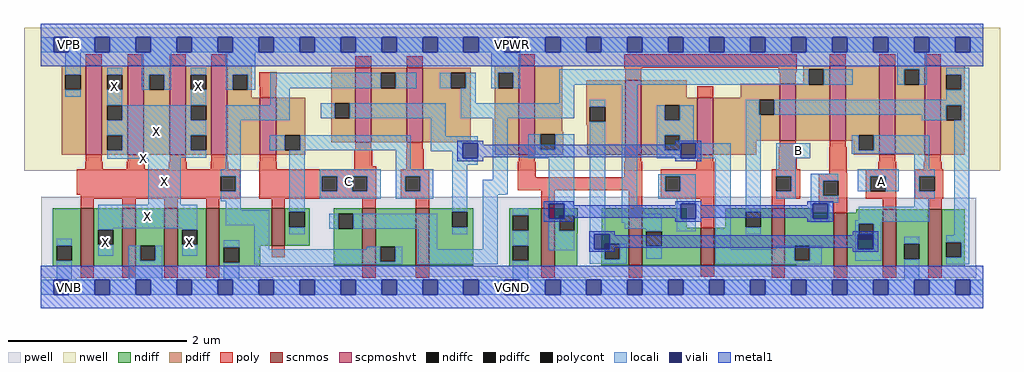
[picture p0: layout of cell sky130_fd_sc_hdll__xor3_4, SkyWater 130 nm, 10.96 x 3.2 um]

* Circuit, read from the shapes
.subckt sky130_fd_sc_hdll__xor3_4 A B C VGND VNB VPB VPWR X
XM1 X n1 VGND VNB sky130_fd_pr__nfet_01v8 w=0.65 l=0.15 m=4
XM2 n2 C VGND VNB sky130_fd_pr__nfet_01v8 w=0.42 l=0.15
XM3 n1 C n3 VNB sky130_fd_pr__nfet_01v8 w=0.64 l=0.15
XM4 n4 n2 n1 VNB sky130_fd_pr__nfet_01v8 w=0.64 l=0.15
XM5 n5 B VGND VNB sky130_fd_pr__nfet_01v8 w=0.65 l=0.15
XM6 n3 B n6 VNB sky130_fd_pr__nfet_01v8 w=0.64 l=0.15
XM7 n7 n5 n3 VNB sky130_fd_pr__nfet_01v8 w=0.42 l=0.15
XM8 n4 B n7 VNB sky130_fd_pr__nfet_01v8 w=0.64 l=0.15
XM9 n6 n5 n4 VNB sky130_fd_pr__nfet_01v8 w=0.6 l=0.15
XM10 VGND A n6 VNB sky130_fd_pr__nfet_01v8 w=0.64 l=0.15
XM11 n7 n6 VGND VNB sky130_fd_pr__nfet_01v8 w=0.64 l=0.15
XM12 X n1 VPWR VPB sky130_fd_pr__pfet_01v8_hvt w=1 l=0.18 m=4
XM13 n2 C VPWR VPB sky130_fd_pr__pfet_01v8_hvt w=0.64 l=0.18
XM14 n1 C n4 VPB sky130_fd_pr__pfet_01v8_hvt w=0.84 l=0.18
XM15 n3 n2 n1 VPB sky130_fd_pr__pfet_01v8_hvt w=0.84 l=0.18
XM16 n5 B VPWR VPB sky130_fd_pr__pfet_01v8_hvt w=1 l=0.18
XM17 n4 B n6 VPB sky130_fd_pr__pfet_01v8_hvt w=0.84 l=0.18
XM18 n7 n5 n4 VPB sky130_fd_pr__pfet_01v8_hvt w=0.64 l=0.18
XM19 n3 B n7 VPB sky130_fd_pr__pfet_01v8_hvt w=0.64 l=0.18
XM20 n6 n5 n3 VPB sky130_fd_pr__pfet_01v8_hvt w=0.84 l=0.18
XM21 VPWR A n6 VPB sky130_fd_pr__pfet_01v8_hvt w=1 l=0.18
XM22 n7 n6 VPWR VPB sky130_fd_pr__pfet_01v8_hvt w=1 l=0.18
.ends

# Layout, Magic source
magic
tech sky130A
magscale 1 2
<< nwell >>
rect -38 261 2154 582
<< pwell >>
rect 1 201 1757 203
rect 1 23 2101 201
rect 1 21 519 23
rect 1026 21 1230 23
rect 1672 21 2101 23
rect 47 -17 81 21
<< scnmos >>
rect 89 47 119 177
rect 183 47 213 177
rect 277 47 307 177
rect 371 47 401 177
rect 518 93 548 177
rect 722 49 752 177
rect 842 49 872 177
rect 1124 47 1154 177
rect 1320 49 1350 177
rect 1482 49 1512 133
rect 1641 49 1671 177
rect 1781 47 1811 167
rect 1891 47 1921 175
rect 1993 47 2023 175
<< scpmoshvt >>
rect 101 297 137 497
rect 195 297 231 497
rect 289 297 325 497
rect 383 297 419 497
rect 492 297 528 425
rect 706 325 742 493
rect 822 325 858 493
rect 1073 297 1109 497
rect 1312 297 1348 465
rect 1474 297 1510 425
rect 1659 329 1695 457
rect 1772 329 1808 497
rect 1883 297 1919 497
rect 1985 297 2021 497
<< ndiff >>
rect 27 93 89 177
rect 27 59 35 93
rect 69 59 89 93
rect 27 47 89 59
rect 119 129 183 177
rect 119 95 129 129
rect 163 95 183 129
rect 119 47 183 95
rect 213 93 277 177
rect 213 59 223 93
rect 257 59 277 93
rect 213 47 277 59
rect 307 129 371 177
rect 307 95 317 129
rect 351 95 371 129
rect 307 47 371 95
rect 401 93 518 177
rect 548 169 604 177
rect 548 135 558 169
rect 592 135 604 169
rect 548 93 604 135
rect 658 165 722 177
rect 658 131 668 165
rect 702 131 722 165
rect 401 89 493 93
rect 401 55 411 89
rect 445 55 493 89
rect 401 47 493 55
rect 658 49 722 131
rect 752 91 842 177
rect 752 57 762 91
rect 796 57 842 91
rect 752 49 842 57
rect 872 169 971 177
rect 872 135 924 169
rect 958 135 971 169
rect 872 49 971 135
rect 1052 161 1124 177
rect 1052 127 1060 161
rect 1094 127 1124 161
rect 1052 93 1124 127
rect 1052 59 1060 93
rect 1094 59 1124 93
rect 1052 47 1124 59
rect 1154 161 1206 177
rect 1154 127 1164 161
rect 1198 127 1206 161
rect 1154 121 1206 127
rect 1154 47 1204 121
rect 1260 105 1320 177
rect 1258 97 1320 105
rect 1258 63 1266 97
rect 1300 63 1320 97
rect 1258 49 1320 63
rect 1350 133 1451 177
rect 1537 169 1641 177
rect 1537 135 1583 169
rect 1617 135 1641 169
rect 1537 133 1641 135
rect 1350 126 1482 133
rect 1350 92 1360 126
rect 1394 92 1482 126
rect 1350 49 1482 92
rect 1512 49 1641 133
rect 1671 167 1731 177
rect 1831 167 1891 175
rect 1671 93 1781 167
rect 1671 59 1693 93
rect 1727 59 1781 93
rect 1671 49 1781 59
rect 1698 47 1781 49
rect 1811 142 1891 167
rect 1811 108 1837 142
rect 1871 108 1891 142
rect 1811 47 1891 108
rect 1921 97 1993 175
rect 1921 63 1939 97
rect 1973 63 1993 97
rect 1921 47 1993 63
rect 2023 101 2075 175
rect 2023 67 2033 101
rect 2067 67 2075 101
rect 2023 47 2075 67
<< pdiff >>
rect 47 477 101 497
rect 47 443 55 477
rect 89 443 101 477
rect 47 297 101 443
rect 137 477 195 497
rect 137 443 149 477
rect 183 443 195 477
rect 137 409 195 443
rect 137 375 149 409
rect 183 375 195 409
rect 137 341 195 375
rect 137 307 149 341
rect 183 307 195 341
rect 137 297 195 307
rect 231 477 289 497
rect 231 443 243 477
rect 277 443 289 477
rect 231 297 289 443
rect 325 477 383 497
rect 325 443 337 477
rect 371 443 383 477
rect 325 409 383 443
rect 325 375 337 409
rect 371 375 383 409
rect 325 341 383 375
rect 325 307 337 341
rect 371 307 383 341
rect 325 297 383 307
rect 419 477 473 497
rect 419 443 431 477
rect 465 443 473 477
rect 419 425 473 443
rect 419 297 492 425
rect 528 341 594 425
rect 528 307 548 341
rect 582 307 594 341
rect 652 413 706 493
rect 652 379 660 413
rect 694 379 706 413
rect 652 325 706 379
rect 742 481 822 493
rect 742 447 763 481
rect 797 447 822 481
rect 742 325 822 447
rect 858 481 965 493
rect 858 447 920 481
rect 954 447 965 481
rect 858 325 965 447
rect 1019 481 1073 497
rect 1019 447 1027 481
rect 1061 447 1073 481
rect 528 297 594 307
rect 1019 297 1073 447
rect 1109 349 1171 497
rect 1712 489 1772 497
rect 1225 405 1312 465
rect 1225 371 1233 405
rect 1267 371 1312 405
rect 1225 365 1312 371
rect 1109 343 1173 349
rect 1109 309 1121 343
rect 1155 309 1173 343
rect 1109 297 1173 309
rect 1227 297 1312 365
rect 1348 425 1450 465
rect 1712 457 1724 489
rect 1572 425 1659 457
rect 1348 409 1474 425
rect 1348 375 1401 409
rect 1435 375 1474 409
rect 1348 341 1474 375
rect 1348 307 1401 341
rect 1435 307 1474 341
rect 1348 297 1474 307
rect 1510 421 1659 425
rect 1510 387 1613 421
rect 1647 387 1659 421
rect 1510 329 1659 387
rect 1695 455 1724 457
rect 1758 455 1772 489
rect 1695 329 1772 455
rect 1808 341 1883 497
rect 1808 329 1837 341
rect 1510 297 1607 329
rect 1825 307 1837 329
rect 1871 307 1883 341
rect 1825 297 1883 307
rect 1919 489 1985 497
rect 1919 455 1939 489
rect 1973 455 1985 489
rect 1919 297 1985 455
rect 2021 477 2075 497
rect 2021 443 2033 477
rect 2067 443 2075 477
rect 2021 409 2075 443
rect 2021 375 2033 409
rect 2067 375 2075 409
rect 2021 297 2075 375
<< ndiffc >>
rect 35 59 69 93
rect 129 95 163 129
rect 223 59 257 93
rect 317 95 351 129
rect 558 135 592 169
rect 668 131 702 165
rect 411 55 445 89
rect 762 57 796 91
rect 924 135 958 169
rect 1060 127 1094 161
rect 1060 59 1094 93
rect 1164 127 1198 161
rect 1266 63 1300 97
rect 1583 135 1617 169
rect 1360 92 1394 126
rect 1693 59 1727 93
rect 1837 108 1871 142
rect 1939 63 1973 97
rect 2033 67 2067 101
<< pdiffc >>
rect 55 443 89 477
rect 149 443 183 477
rect 149 375 183 409
rect 149 307 183 341
rect 243 443 277 477
rect 337 443 371 477
rect 337 375 371 409
rect 337 307 371 341
rect 431 443 465 477
rect 548 307 582 341
rect 660 379 694 413
rect 763 447 797 481
rect 920 447 954 481
rect 1027 447 1061 481
rect 1233 371 1267 405
rect 1121 309 1155 343
rect 1401 375 1435 409
rect 1401 307 1435 341
rect 1613 387 1647 421
rect 1724 455 1758 489
rect 1837 307 1871 341
rect 1939 455 1973 489
rect 2033 443 2067 477
rect 2033 375 2067 409
<< poly >>
rect 101 497 137 523
rect 195 497 231 523
rect 289 497 325 523
rect 383 497 419 523
rect 706 493 742 519
rect 822 493 858 519
rect 1073 497 1109 523
rect 490 451 530 483
rect 492 425 528 451
rect 706 310 742 325
rect 822 310 858 325
rect 101 282 137 297
rect 195 282 231 297
rect 289 282 325 297
rect 383 282 419 297
rect 492 282 528 297
rect 99 265 139 282
rect 193 265 233 282
rect 287 265 327 282
rect 381 265 421 282
rect 490 265 530 282
rect 704 271 744 310
rect 704 265 753 271
rect 820 265 860 310
rect 1310 493 1697 523
rect 1772 497 1808 523
rect 1883 497 1919 523
rect 1985 497 2021 523
rect 1310 491 1350 493
rect 1312 465 1348 491
rect 1657 483 1697 493
rect 1659 457 1695 483
rect 1474 425 1510 451
rect 1659 314 1695 329
rect 1772 314 1808 329
rect 1073 282 1109 297
rect 1312 282 1348 297
rect 1474 282 1510 297
rect 80 249 448 265
rect 80 215 404 249
rect 438 215 448 249
rect 80 207 448 215
rect 89 199 448 207
rect 490 249 753 265
rect 490 215 631 249
rect 665 215 699 249
rect 733 215 753 249
rect 490 199 753 215
rect 808 249 872 265
rect 808 215 818 249
rect 852 215 872 249
rect 1071 247 1111 282
rect 1310 247 1350 282
rect 1472 265 1512 282
rect 1657 265 1697 314
rect 1071 217 1350 247
rect 808 199 872 215
rect 89 177 119 199
rect 183 177 213 199
rect 277 177 307 199
rect 371 177 401 199
rect 518 177 548 199
rect 722 197 753 199
rect 722 177 752 197
rect 842 177 872 199
rect 1124 177 1154 217
rect 1320 177 1350 217
rect 1392 249 1512 265
rect 1392 215 1402 249
rect 1436 215 1512 249
rect 1392 199 1512 215
rect 518 67 548 93
rect 89 21 119 47
rect 183 21 213 47
rect 277 21 307 47
rect 371 21 401 47
rect 722 21 752 49
rect 842 21 872 49
rect 1482 133 1512 199
rect 1641 249 1705 265
rect 1770 256 1810 314
rect 1883 282 1919 297
rect 1985 282 2021 297
rect 1881 265 1921 282
rect 1983 265 2023 282
rect 1770 255 1811 256
rect 1641 215 1651 249
rect 1685 215 1705 249
rect 1641 199 1705 215
rect 1747 239 1811 255
rect 1747 205 1757 239
rect 1791 205 1811 239
rect 1641 177 1671 199
rect 1747 189 1811 205
rect 1853 249 1921 265
rect 1853 215 1863 249
rect 1897 215 1921 249
rect 1853 199 1921 215
rect 1963 249 2027 265
rect 1963 215 1973 249
rect 2007 215 2027 249
rect 1963 199 2027 215
rect 1781 167 1811 189
rect 1891 175 1921 199
rect 1993 175 2023 199
rect 1124 21 1154 47
rect 1320 21 1350 49
rect 1482 23 1512 49
rect 1641 21 1671 49
rect 1781 21 1811 47
rect 1891 21 1921 47
rect 1993 21 2023 47
<< polycont >>
rect 404 215 438 249
rect 631 215 665 249
rect 699 215 733 249
rect 818 215 852 249
rect 1402 215 1436 249
rect 1651 215 1685 249
rect 1757 205 1791 239
rect 1863 215 1897 249
rect 1973 215 2007 249
<< locali >>
rect 0 527 29 561
rect 63 527 121 561
rect 155 527 213 561
rect 247 527 305 561
rect 339 527 397 561
rect 431 527 489 561
rect 523 527 581 561
rect 615 527 673 561
rect 707 527 765 561
rect 799 527 857 561
rect 891 527 949 561
rect 983 527 1041 561
rect 1075 527 1133 561
rect 1167 527 1225 561
rect 1259 527 1317 561
rect 1351 527 1409 561
rect 1443 527 1501 561
rect 1535 527 1593 561
rect 1627 527 1685 561
rect 1719 527 1777 561
rect 1811 527 1869 561
rect 1903 527 1961 561
rect 1995 527 2053 561
rect 2087 527 2116 561
rect 55 477 89 527
rect 55 427 89 443
rect 149 477 183 493
rect 227 477 293 527
rect 227 443 243 477
rect 277 443 293 477
rect 337 477 371 493
rect 415 477 481 527
rect 1011 481 1077 527
rect 1923 489 1989 527
rect 415 443 431 477
rect 465 443 481 477
rect 515 447 763 481
rect 797 447 843 481
rect 896 447 920 481
rect 954 447 977 481
rect 1011 447 1027 481
rect 1061 447 1077 481
rect 1164 455 1724 489
rect 1758 455 1823 489
rect 1923 455 1939 489
rect 1973 455 1989 489
rect 2033 477 2085 493
rect 149 409 183 443
rect 337 409 371 443
rect 515 409 559 447
rect 943 413 977 447
rect 1164 413 1198 455
rect 183 375 337 409
rect 149 341 371 375
rect 183 307 337 341
rect 149 291 371 307
rect 415 375 559 409
rect 628 379 660 413
rect 694 379 909 413
rect 943 379 1198 413
rect 1233 405 1267 421
rect 149 288 314 291
rect 241 185 314 288
rect 415 265 449 375
rect 514 307 548 341
rect 582 307 831 341
rect 404 249 449 265
rect 438 215 449 249
rect 404 193 449 215
rect 129 132 351 185
rect 415 173 449 193
rect 415 139 513 173
rect 129 129 163 132
rect 35 93 69 109
rect 129 70 163 95
rect 317 129 351 132
rect 35 17 69 59
rect 197 59 223 93
rect 257 59 273 93
rect 317 70 351 95
rect 411 89 445 105
rect 197 17 273 59
rect 411 17 445 55
rect 479 85 513 139
rect 558 169 592 307
rect 797 265 831 307
rect 875 339 909 379
rect 875 323 981 339
rect 875 305 947 323
rect 924 289 947 305
rect 924 275 981 289
rect 626 249 763 265
rect 626 215 631 249
rect 665 215 699 249
rect 733 215 763 249
rect 626 199 763 215
rect 797 249 881 265
rect 797 215 818 249
rect 852 215 881 249
rect 797 199 881 215
rect 924 169 958 275
rect 1015 241 1049 379
rect 1095 309 1121 343
rect 1155 309 1198 343
rect 1095 289 1198 309
rect 558 119 592 135
rect 648 131 668 165
rect 702 131 890 165
rect 732 85 762 91
rect 479 57 762 85
rect 796 57 812 91
rect 479 51 812 57
rect 846 85 890 131
rect 924 119 958 135
rect 992 210 1049 241
rect 992 209 1048 210
rect 992 208 1046 209
rect 992 207 1043 208
rect 992 85 1026 207
rect 1140 187 1198 289
rect 846 51 1026 85
rect 1060 161 1094 177
rect 1060 93 1094 127
rect 1140 153 1141 187
rect 1175 161 1198 187
rect 1140 127 1164 153
rect 1140 83 1198 127
rect 1233 119 1267 371
rect 1305 178 1339 455
rect 2067 443 2085 477
rect 2033 421 2085 443
rect 1383 375 1401 409
rect 1435 375 1466 409
rect 1383 341 1466 375
rect 1383 307 1401 341
rect 1435 323 1466 341
rect 1583 387 1613 421
rect 1647 409 2085 421
rect 1647 387 2033 409
rect 1435 307 1437 323
rect 1383 289 1437 307
rect 1471 289 1549 323
rect 1386 249 1471 254
rect 1386 215 1402 249
rect 1436 215 1471 249
rect 1386 199 1471 215
rect 1428 187 1471 199
rect 1305 165 1355 178
rect 1305 144 1394 165
rect 1311 131 1394 144
rect 1360 126 1394 131
rect 1428 153 1437 187
rect 1428 126 1471 153
rect 1233 85 1243 119
rect 1060 17 1094 59
rect 1233 63 1266 85
rect 1300 63 1316 97
rect 1360 64 1394 92
rect 1515 85 1549 289
rect 1583 169 1617 387
rect 1978 375 2033 387
rect 2067 375 2085 409
rect 1651 289 1728 323
rect 1821 307 1837 341
rect 1871 307 1995 341
rect 1821 299 1995 307
rect 1651 249 1695 289
rect 1961 265 1995 299
rect 1685 215 1695 249
rect 1651 199 1695 215
rect 1729 239 1791 255
rect 1729 205 1757 239
rect 1835 249 1927 265
rect 1835 215 1863 249
rect 1897 215 1927 249
rect 1961 249 2007 265
rect 1961 215 1973 249
rect 1729 189 1791 205
rect 1961 199 2007 215
rect 1729 187 1770 189
rect 1729 153 1733 187
rect 1767 153 1770 187
rect 1961 181 1995 199
rect 1729 146 1770 153
rect 1837 150 1995 181
rect 1829 147 1995 150
rect 1583 119 1617 135
rect 1829 142 1887 147
rect 1829 119 1837 142
rect 1651 85 1693 93
rect 1233 53 1316 63
rect 1515 59 1693 85
rect 1727 59 1754 93
rect 1829 85 1835 119
rect 1871 108 1887 142
rect 2051 117 2085 375
rect 1869 85 1887 108
rect 1829 59 1887 85
rect 1939 97 1973 113
rect 1515 51 1754 59
rect 1939 17 1973 63
rect 2033 101 2085 117
rect 2067 67 2085 101
rect 2033 51 2085 67
rect 0 -17 29 17
rect 63 -17 121 17
rect 155 -17 213 17
rect 247 -17 305 17
rect 339 -17 397 17
rect 431 -17 489 17
rect 523 -17 581 17
rect 615 -17 673 17
rect 707 -17 765 17
rect 799 -17 857 17
rect 891 -17 949 17
rect 983 -17 1041 17
rect 1075 -17 1133 17
rect 1167 -17 1225 17
rect 1259 -17 1317 17
rect 1351 -17 1409 17
rect 1443 -17 1501 17
rect 1535 -17 1593 17
rect 1627 -17 1685 17
rect 1719 -17 1777 17
rect 1811 -17 1869 17
rect 1903 -17 1961 17
rect 1995 -17 2053 17
rect 2087 -17 2116 17
<< viali >>
rect 29 527 63 561
rect 121 527 155 561
rect 213 527 247 561
rect 305 527 339 561
rect 397 527 431 561
rect 489 527 523 561
rect 581 527 615 561
rect 673 527 707 561
rect 765 527 799 561
rect 857 527 891 561
rect 949 527 983 561
rect 1041 527 1075 561
rect 1133 527 1167 561
rect 1225 527 1259 561
rect 1317 527 1351 561
rect 1409 527 1443 561
rect 1501 527 1535 561
rect 1593 527 1627 561
rect 1685 527 1719 561
rect 1777 527 1811 561
rect 1869 527 1903 561
rect 1961 527 1995 561
rect 2053 527 2087 561
rect 947 289 981 323
rect 1141 161 1175 187
rect 1141 153 1164 161
rect 1164 153 1175 161
rect 1437 289 1471 323
rect 1437 153 1471 187
rect 1243 97 1277 119
rect 1243 85 1266 97
rect 1266 85 1277 97
rect 1733 153 1767 187
rect 1835 108 1837 119
rect 1837 108 1869 119
rect 1835 85 1869 108
rect 29 -17 63 17
rect 121 -17 155 17
rect 213 -17 247 17
rect 305 -17 339 17
rect 397 -17 431 17
rect 489 -17 523 17
rect 581 -17 615 17
rect 673 -17 707 17
rect 765 -17 799 17
rect 857 -17 891 17
rect 949 -17 983 17
rect 1041 -17 1075 17
rect 1133 -17 1167 17
rect 1225 -17 1259 17
rect 1317 -17 1351 17
rect 1409 -17 1443 17
rect 1501 -17 1535 17
rect 1593 -17 1627 17
rect 1685 -17 1719 17
rect 1777 -17 1811 17
rect 1869 -17 1903 17
rect 1961 -17 1995 17
rect 2053 -17 2087 17
<< metal1 >>
rect 0 561 2116 592
rect 0 527 29 561
rect 63 527 121 561
rect 155 527 213 561
rect 247 527 305 561
rect 339 527 397 561
rect 431 527 489 561
rect 523 527 581 561
rect 615 527 673 561
rect 707 527 765 561
rect 799 527 857 561
rect 891 527 949 561
rect 983 527 1041 561
rect 1075 527 1133 561
rect 1167 527 1225 561
rect 1259 527 1317 561
rect 1351 527 1409 561
rect 1443 527 1501 561
rect 1535 527 1593 561
rect 1627 527 1685 561
rect 1719 527 1777 561
rect 1811 527 1869 561
rect 1903 527 1961 561
rect 1995 527 2053 561
rect 2087 527 2116 561
rect 0 496 2116 527
rect 935 323 993 329
rect 935 289 947 323
rect 981 320 993 323
rect 1425 323 1483 329
rect 1425 320 1437 323
rect 981 292 1437 320
rect 981 289 993 292
rect 935 283 993 289
rect 1425 289 1437 292
rect 1471 289 1483 323
rect 1425 283 1483 289
rect 1129 187 1197 193
rect 1129 153 1141 187
rect 1175 184 1197 187
rect 1425 187 1483 193
rect 1425 184 1437 187
rect 1175 156 1437 184
rect 1175 153 1197 156
rect 1129 147 1197 153
rect 1425 153 1437 156
rect 1471 184 1483 187
rect 1721 187 1779 193
rect 1721 184 1733 187
rect 1471 156 1733 184
rect 1471 153 1483 156
rect 1425 147 1483 153
rect 1721 153 1733 156
rect 1767 153 1779 187
rect 1721 147 1779 153
rect 1231 119 1289 125
rect 1231 85 1243 119
rect 1277 116 1289 119
rect 1823 119 1881 125
rect 1823 116 1835 119
rect 1277 88 1835 116
rect 1277 85 1289 88
rect 1231 79 1289 85
rect 1823 85 1835 88
rect 1869 85 1881 119
rect 1823 79 1881 85
rect 0 17 2116 48
rect 0 -17 29 17
rect 63 -17 121 17
rect 155 -17 213 17
rect 247 -17 305 17
rect 339 -17 397 17
rect 431 -17 489 17
rect 523 -17 581 17
rect 615 -17 673 17
rect 707 -17 765 17
rect 799 -17 857 17
rect 891 -17 949 17
rect 983 -17 1041 17
rect 1075 -17 1133 17
rect 1167 -17 1225 17
rect 1259 -17 1317 17
rect 1351 -17 1409 17
rect 1443 -17 1501 17
rect 1535 -17 1593 17
rect 1627 -17 1685 17
rect 1719 -17 1777 17
rect 1811 -17 1869 17
rect 1903 -17 1961 17
rect 1995 -17 2053 17
rect 2087 -17 2116 17
rect 0 -48 2116 -17
<< labels >>
flabel locali s 337 409 371 493 0 FreeSans 340 0 0 0 X
port 8 nsew signal output
flabel locali s 673 221 707 255 0 FreeSans 340 0 0 0 C
port 3 nsew signal input
flabel locali s 1684 289 1718 323 0 FreeSans 340 0 0 0 B
port 2 nsew signal input
flabel locali s 1870 221 1904 255 0 FreeSans 340 0 0 0 A
port 1 nsew signal input
flabel pwell s 47 -17 81 17 0 FreeSans 200 0 0 0 VNB
port 5 nsew ground bidirectional
flabel nwell s 47 527 81 561 0 FreeSans 200 0 0 0 VPB
port 6 nsew power bidirectional
flabel metal1 s 0 -48 2116 48 0 FreeSans 200 0 0 0 VGND
port 4 nsew ground bidirectional
flabel metal1 s 0 496 2116 592 0 FreeSans 200 0 0 0 VPWR
port 7 nsew power bidirectional
rlabel comment s 0 0 0 0 4 hkscl5hdv1_xor3_1
flabel comment s 0 544 0 544 3 FreeSans 200 0 0 0 HHNEC
rlabel locali s 317 70 351 132 1 X
port 8 nsew signal output
rlabel locali s 241 185 314 288 1 X
port 8 nsew signal output
rlabel locali s 149 409 183 493 1 X
port 8 nsew signal output
rlabel locali s 149 291 371 409 1 X
port 8 nsew signal output
rlabel locali s 149 288 314 291 1 X
port 8 nsew signal output
rlabel locali s 129 132 351 185 1 X
port 8 nsew signal output
rlabel locali s 129 70 163 132 1 X
port 8 nsew signal output
<< properties >>
string LEFsite unithd
string LEFclass CORE
string FIXED_BBOX 0 0 2116 544
string GDS_FILE $PDKPATH/libs.ref/sky130_fd_sc_hdll/gds/sky130_fd_sc_hdll.gds
string LEFsymmetry X Y R90
string GDS_END 2999154
string GDS_START 2985168
string LEFproperties maskLayoutSubType "abstract" prCellType "standard" originalViewName "layout"
<< end >>
